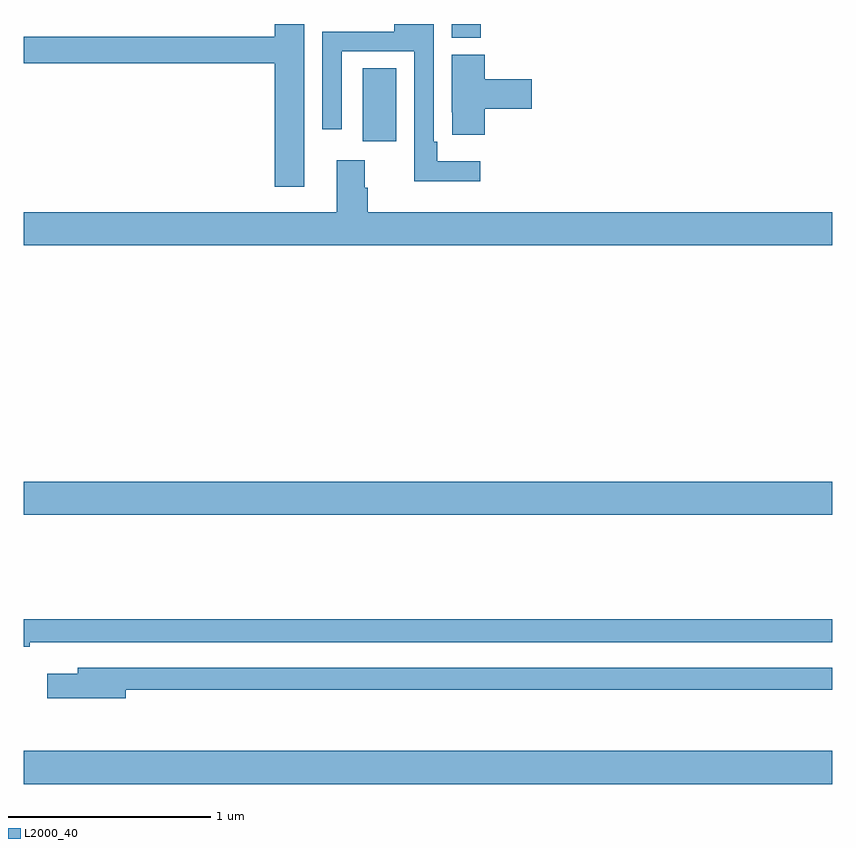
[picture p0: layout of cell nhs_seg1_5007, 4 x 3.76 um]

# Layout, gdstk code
import gdstk
lib = gdstk.Library(unit=1e-6, precision=1e-09)
def R(c, l, rs):  # rectangles x0, y0, x1, y1
    for r in rs: c.add(gdstk.rectangle(r[:2], r[2:], *l))
def P(c, l, *ps):  # polygons
    for p in ps: c.add(gdstk.Polygon(p, *l))
L2000_40 = (2000, 40)

nhs_seg1_5007 = lib.new_cell('nhs_seg1_5007')
R(nhs_seg1_5007, L2000_40, [(383,510.44,387,510.604), (383,511.772,387,511.936), (384.677,513.618,384.844,513.98), (385.118,514.132,385.262,514.199)])
P(nhs_seg1_5007, L2000_40, [(385.258,513.52),(385.045,513.52),(385.045,513.616),(385.029,513.616),(385.029,514.199),(384.833,514.199),(384.833,514.161),(384.477,514.161),(384.477,513.678),(384.573,513.678),(384.573,514.065),(384.933,514.065),(384.933,513.422),(385.258,513.422)],
  [(384.388,514.199),(384.242,514.199),(384.242,514.135),(383,514.135),(383,514.006),(384.242,514.006),(384.242,513.393),(384.388,513.393)],
  [(385.28,513.779),(385.513,513.779),(385.513,513.926),(385.28,513.926),(385.28,514.047),(385.118,514.047),(385.118,513.763),(385.119,513.763),(385.119,513.651),(385.28,513.651)],
  [(387,513.268),(384.701,513.268),(384.701,513.389),(384.688,513.389),(384.688,513.526),(384.548,513.526),(384.548,513.268),(383,513.268),(383,513.104),(387,513.104)],
  [(383.03,511.14),(387,511.14),(387,511.256),(383,511.256),(383,511.12),(383.03,511.12)],
  [(383.506,510.906),(387,510.906),(387,511.014),(383.267,511.014),(383.267,510.985),(383.118,510.985),(383.118,510.863),(383.506,510.863)])

lib.write_gds('nhs_seg1_5007.gds')
